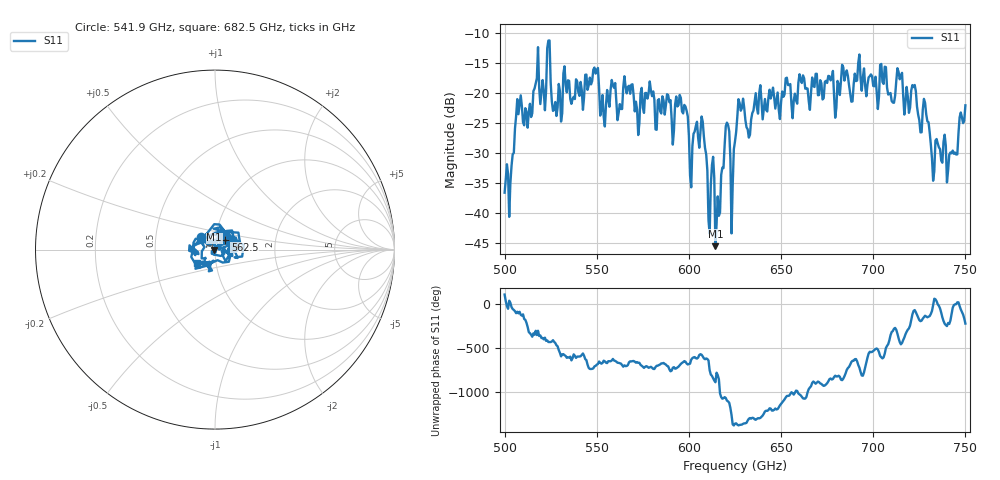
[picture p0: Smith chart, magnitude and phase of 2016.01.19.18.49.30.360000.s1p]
!Created with skrf (http://scikit-rf.org).
# GHz S RI R 50.0
!freq ReS11 ImS11
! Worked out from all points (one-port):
!   401 points, 500 GHz to 750 GHz, reference 50 ohm
!   lowest |S11| = -45.5 dB at 614.4 GHz (marker M1), VSWR 1.01, Z = 49.5 - j0.0674 ohm
!   |S11| at or under -10 dB: start of sweep to end of sweep
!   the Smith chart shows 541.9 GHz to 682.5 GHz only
!   S11 on the Smith chart (normalised r, x): 541.9 GHz: 0.84, +0.12; 562.5 GHz: 1.12, +0.13; 682.5 GHz: 0.81, -0.12
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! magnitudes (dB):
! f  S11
! 500 GHz  -36.6
! 503.8 GHz  -32.2
! 507.5 GHz  -23.5
! 513.8 GHz  -21.8
! 516.9 GHz  -18.4
! 531.2 GHz  -23.4
! 541.9 GHz  -19.6
! 549.4 GHz  -16.8
! 553.1 GHz  -20.4
! 558.8 GHz  -18.7
! 562.5 GHz  -21.9
! 593.8 GHz  -22.3
! 601.2 GHz  -35.7
! 607.5 GHz  -24.8
! 610.6 GHz  -41.2
! 614.4 GHz  -45.5
! 615.6 GHz  -37.2
! 620.6 GHz  -24.9
! 623.1 GHz  -43.3
! 625 GHz  -28.0
! 628.1 GHz  -23.0
! 632.5 GHz  -27.4
! 656.2 GHz  -24.2
! 682.5 GHz  -18.0
! 687.5 GHz  -20.1
! 718.8 GHz  -20.6
! 741.2 GHz  -30.3
! 750 GHz  -22.1
